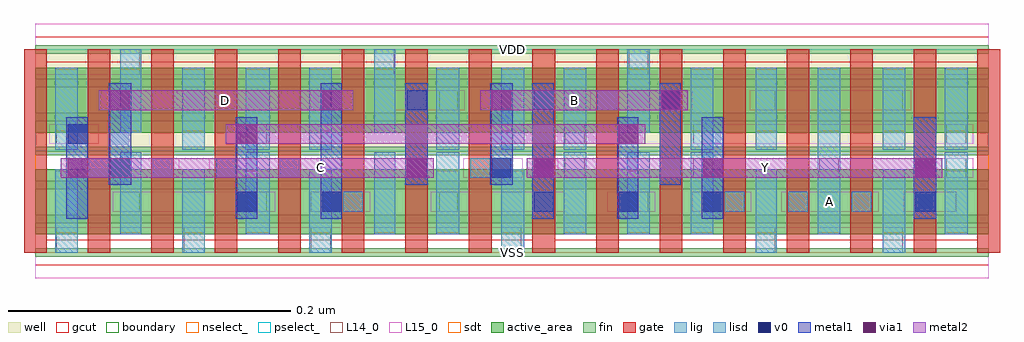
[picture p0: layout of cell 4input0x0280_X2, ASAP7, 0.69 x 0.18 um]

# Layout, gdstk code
import gdstk
lib = gdstk.Library(unit=1e-6, precision=1e-09)
def R(c, l, rs):  # rectangles x0, y0, x1, y1
    for r in rs: c.add(gdstk.rectangle(r[:2], r[2:], *l))
def A(c, l, x, y, w, h, nx, ny, dx, dy):  # array of equal rectangles
    R(c, l, [(x+i*dx, y+j*dy, x+i*dx+w, y+j*dy+h) for i in range(nx) for j in range(ny)])
def P(c, l, *ps):  # polygons
    for p in ps: c.add(gdstk.Polygon(p, *l))
well = (1, 0)
fin = (2, 0)
gate = (7, 0)
gcut = (10, 0)
active_area = (11, 0)
nselect_ = (12, 0)
pselect_ = (13, 0)
L14_0 = (14, 0)
L15_0 = (15, 0)
lig = (16, 0)
lisd = (17, 0)
v0 = (18, 0)
metal1 = (19, 0)
metal2 = (20, 0)
via1 = (21, 0)
sdt = (88, 0)
boundary = (100, 0)

c_4input0x0280_x2 = lib.new_cell('4input0x0280_X2')
R(c_4input0x0280_x2, well, [(0,0.072,0.675,0.144)])
A(c_4input0x0280_x2, fin, 0, -0.003, 0.675, 0.006, 1, 7, 0, 0.024)
A(c_4input0x0280_x2, gate, -0.008, 0, 0.016, 0.144, 16, 1, 0.045, 0)
P(c_4input0x0280_x2, gcut, [(0,-0.009),(0,0),(-0.008,0),(-0.008,0.135),(0.008,0.135),(0.008,0.009),(0.352,0.009),(0.352,0.135),(0.368,0.135),(0.368,0.009),(0.667,0.009),(0.667,0.135),(-0.008,0.135),(-0.008,0.144),(0,0.144),(0,0.153),(0.675,0.153),(0.675,0.144),(0.683,0.144),(0.683,0),(0.675,0),(0.675,-0.009)])
R(c_4input0x0280_x2, active_area, [(0,0.013,0.675,0.059), (0,0.085,0.675,0.131)])
R(c_4input0x0280_x2, nselect_, [(0,0,0.675,0.072)])
R(c_4input0x0280_x2, pselect_, [(0,0.072,0.675,0.144)])
A(c_4input0x0280_x2, L14_0, 0.488, 0.029, 0.014, 0.014, 4, 1, 0.045, 0)
A(c_4input0x0280_x2, L14_0, 0.038, 0.053, 0.014, 0.014, 4, 1, 0.045, 0)
A(c_4input0x0280_x2, L14_0, 0.06, 0.126, 0.014, 0.018, 3, 1, 0.18, 0)
R(c_4input0x0280_x2, L14_0, [(0.015,0,0.03,0.018), (0.105,0,0.12,0.018), (0.195,0,0.209,0.018), (0.33,0,0.344,0.018), (0.51,0,0.524,0.018), (0.6,0,0.614,0.018), (0.06,0.029,0.074,0.043), (0.15,0.029,0.164,0.043), (0.218,0.029,0.232,0.043), (0.286,0.029,0.299,0.043), (0.42,0.029,0.434,0.043), (0.263,0.053,0.277,0.067), (0.308,0.053,0.322,0.067), (0.375,0.053,0.389,0.067), (0.466,0.053,0.48,0.067), (0.555,0.053,0.569,0.067), (0.645,0.053,0.659,0.067), (0.015,0.077,0.03,0.091), (0.15,0.077,0.164,0.091), (0.375,0.077,0.389,0.091), (0.466,0.077,0.48,0.091), (0.645,0.077,0.659,0.091), (0.105,0.101,0.12,0.115), (0.195,0.101,0.209,0.115), (0.286,0.101,0.299,0.115), (0.33,0.101,0.344,0.115), (0.398,0.101,0.412,0.115), (0.443,0.101,0.457,0.115), (0.51,0.101,0.524,0.115), (0.6,0.101,0.614,0.115)])
R(c_4input0x0280_x2, L15_0, [(0,-0.018,0.675,0.018), (0.055,0.029,0.17,0.043), (0.195,0.029,0.237,0.043), (0.28,0.029,0.375,0.043), (0.405,0.029,0.439,0.043), (0.465,0.029,0.507,0.043), (0.528,0.029,0.597,0.043), (0.615,0.029,0.652,0.043), (0.033,0.053,0.102,0.067), (0.123,0.053,0.282,0.067), (0.303,0.053,0.345,0.067), (0.37,0.053,0.664,0.067), (0.01,0.077,0.045,0.091), (0.145,0.077,0.664,0.091), (0.1,0.101,0.214,0.115), (0.255,0.101,0.304,0.115), (0.326,0.101,0.375,0.115), (0.393,0.101,0.465,0.115), (0.506,0.101,0.62,0.115), (0,0.126,0.675,0.162)])
A(c_4input0x0280_x2, lig, 0.488, 0.029, 0.014, 0.014, 4, 1, 0.045, 0)
A(c_4input0x0280_x2, lig, 0.038, 0.053, 0.014, 0.014, 4, 1, 0.045, 0)
R(c_4input0x0280_x2, lig, [(0.218,0.029,0.232,0.043), (0.263,0.053,0.277,0.067), (0.308,0.053,0.322,0.067), (0.398,0.101,0.412,0.115), (0.443,0.101,0.457,0.115)])
A(c_4input0x0280_x2, lisd, 0.014, 0, 0.016, 0.059, 3, 1, 0.09, 0)
A(c_4input0x0280_x2, lisd, 0.374, 0.013, 0.016, 0.058, 3, 1, 0.045, 0)
A(c_4input0x0280_x2, lisd, 0.014, 0.073, 0.016, 0.058, 4, 1, 0.09, 0)
R(c_4input0x0280_x2, lisd, [(0.33,0,0.346,0.059), (0.51,0,0.525,0.059), (0.6,0,0.616,0.059), (0.06,0.013,0.075,0.071), (0.149,0.013,0.166,0.071), (0.24,0.013,0.255,0.071), (0.284,0.013,0.3,0.071), (0.554,0.013,0.57,0.131), (0.644,0.013,0.66,0.071), (0.149,0.073,0.166,0.131), (0.33,0.073,0.346,0.131), (0.374,0.073,0.39,0.131), (0.464,0.073,0.48,0.131), (0.51,0.073,0.525,0.131), (0.6,0.073,0.616,0.131), (0.644,0.073,0.66,0.131), (0.06,0.085,0.075,0.144), (0.24,0.085,0.255,0.144), (0.419,0.085,0.435,0.144)])
A(c_4input0x0280_x2, v0, 0.353, 0.029, 0.014, 0.014, 3, 1, 0.06, 0)
A(c_4input0x0280_x2, v0, 0.263, 0.101, 0.014, 0.014, 3, 1, 0.09, 0)
R(c_4input0x0280_x2, v0, [(0.143,0.029,0.157,0.043), (0.203,0.029,0.217,0.043), (0.623,0.029,0.637,0.043), (0.053,0.053,0.067,0.067), (0.323,0.053,0.337,0.067), (0.023,0.077,0.037,0.091)])
R(c_4input0x0280_x2, metal1, [(0.022,0.024,0.037,0.096), (0.142,0.024,0.157,0.096), (0.202,0.024,0.217,0.12), (0.352,0.024,0.367,0.12), (0.412,0.024,0.427,0.096), (0.472,0.024,0.487,0.096), (0.622,0.024,0.638,0.096), (0.052,0.048,0.068,0.12), (0.262,0.048,0.278,0.12), (0.322,0.048,0.338,0.12), (0.442,0.048,0.457,0.12)])
R(c_4input0x0280_x2, metal2, [(0.018,0.053,0.282,0.067), (0.348,0.053,0.642,0.067), (0.135,0.077,0.432,0.091), (0.045,0.101,0.225,0.115), (0.315,0.101,0.462,0.115)])
A(c_4input0x0280_x2, via1, 0.203, 0.101, 0.014, 0.014, 3, 1, 0.12, 0)
R(c_4input0x0280_x2, via1, [(0.023,0.053,0.037,0.067), (0.263,0.053,0.277,0.067), (0.353,0.053,0.367,0.067), (0.473,0.053,0.487,0.067), (0.623,0.053,0.637,0.067), (0.143,0.077,0.157,0.091), (0.413,0.077,0.427,0.091), (0.053,0.101,0.067,0.115)])
A(c_4input0x0280_x2, sdt, 0.014, 0.014, 0.016, 0.044, 4, 2, 0.09, 0.072)
A(c_4input0x0280_x2, sdt, 0.374, 0.014, 0.016, 0.044, 3, 2, 0.045, 0.072)
R(c_4input0x0280_x2, sdt, [(0.06,0.014,0.075,0.058), (0.149,0.014,0.166,0.058), (0.24,0.014,0.255,0.058), (0.33,0.014,0.346,0.058), (0.51,0.014,0.525,0.058), (0.554,0.014,0.57,0.058), (0.6,0.014,0.616,0.058), (0.644,0.014,0.66,0.058), (0.06,0.086,0.075,0.13), (0.149,0.086,0.166,0.13), (0.24,0.086,0.255,0.13), (0.33,0.086,0.346,0.13), (0.51,0.086,0.525,0.13), (0.554,0.086,0.57,0.13), (0.6,0.086,0.616,0.13), (0.644,0.086,0.66,0.13)])
R(c_4input0x0280_x2, boundary, [(0,0,0.675,0.144)])
c_4input0x0280_x2.add(gdstk.Label('A', (0.562,0.036), layer=15, texttype=251))
c_4input0x0280_x2.add(gdstk.Label('VSS', (0.338,0), layer=15, texttype=251))
c_4input0x0280_x2.add(gdstk.Label('VDD', (0.338,0.144), layer=15, texttype=251))
c_4input0x0280_x2.add(gdstk.Label('Y', (0.517,0.06), layer=15, texttype=251))
c_4input0x0280_x2.add(gdstk.Label('VSS', (0.338,0), layer=15, texttype=251))
c_4input0x0280_x2.add(gdstk.Label('VDD', (0.338,0.144), layer=15, texttype=251))
c_4input0x0280_x2.add(gdstk.Label('VSS', (0.338,0), layer=15, texttype=251))
c_4input0x0280_x2.add(gdstk.Label('VDD', (0.338,0.144), layer=15, texttype=251))
c_4input0x0280_x2.add(gdstk.Label('VSS', (0.338,0), layer=15, texttype=251))
c_4input0x0280_x2.add(gdstk.Label('VDD', (0.338,0.144), layer=15, texttype=251))
c_4input0x0280_x2.add(gdstk.Label('C', (0.202,0.06), layer=15, texttype=251))
c_4input0x0280_x2.add(gdstk.Label('VSS', (0.338,0), layer=15, texttype=251))
c_4input0x0280_x2.add(gdstk.Label('VDD', (0.338,0.144), layer=15, texttype=251))
c_4input0x0280_x2.add(gdstk.Label('VSS', (0.338,0), layer=3, texttype=251))
c_4input0x0280_x2.add(gdstk.Label('VSS', (0.338,0), layer=3, texttype=251))
c_4input0x0280_x2.add(gdstk.Label('VSS', (0.338,0), layer=3, texttype=251))
c_4input0x0280_x2.add(gdstk.Label('VSS', (0.338,0), layer=3, texttype=251))
c_4input0x0280_x2.add(gdstk.Label('VSS', (0.338,0), layer=3, texttype=251))
c_4input0x0280_x2.add(gdstk.Label('VDD', (0.338,0.144), layer=1, texttype=251))
c_4input0x0280_x2.add(gdstk.Label('VDD', (0.338,0.144), layer=1, texttype=251))
c_4input0x0280_x2.add(gdstk.Label('VDD', (0.338,0.144), layer=1, texttype=251))
c_4input0x0280_x2.add(gdstk.Label('VDD', (0.338,0.144), layer=1, texttype=251))
c_4input0x0280_x2.add(gdstk.Label('VDD', (0.338,0.144), layer=1, texttype=251))
c_4input0x0280_x2.add(gdstk.Label('D', (0.135,0.108), layer=20, texttype=251))
c_4input0x0280_x2.add(gdstk.Label('B', (0.382,0.108), layer=20, texttype=251))

lib.write_gds('4input0x0280_X2.gds')
